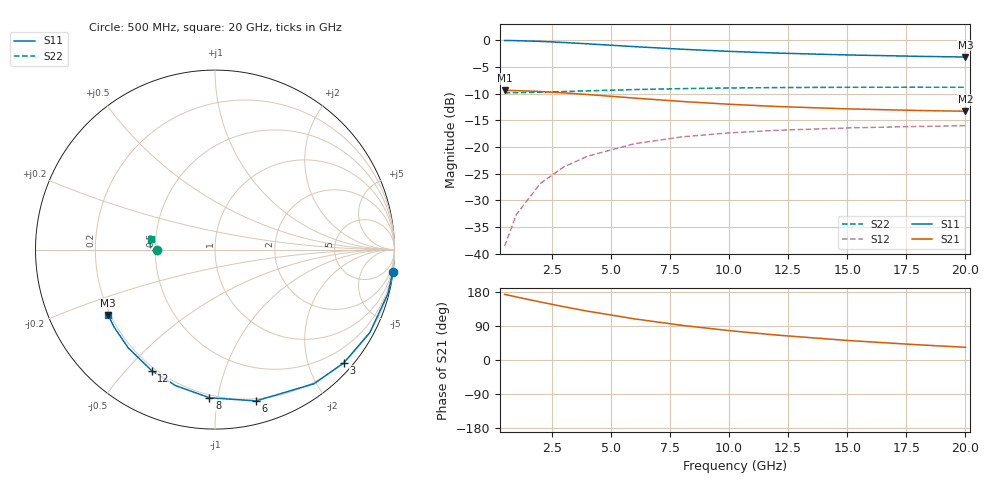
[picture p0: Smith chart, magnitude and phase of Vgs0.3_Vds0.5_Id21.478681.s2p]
# Hz S RI R 50
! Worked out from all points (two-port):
!   12 points, 500 MHz to 20 GHz, reference 50 ohm
!   highest |S21| = -9.38 dB at 500 MHz (marker M1); lowest = -13.3 dB at 20 GHz (marker M2)
!   |S21| within 3 dB of the highest: start of sweep to 11.91 GHz
!   lowest |S11| = -3.1 dB at 20 GHz (marker M3), VSWR 5.62, Z = 9.58 - j13.6 ohm
!   |S11| at or under -10 dB: nowhere
!   |S22| runs from -9.8 to -8.8 dB; largest |S21 - S12| = 0.34
!   S11 on the Smith chart (normalised r, x): 500 MHz: 0, -16; 3 GHz: 0.18, -2.64; 6 GHz: 0.18, -1.29; 8 GHz: 0.18, -0.95; 12 GHz: 0.18, -0.59; 20 GHz: 0.19, -0.27
5e8  0.9908 -0.1248  -0.3372 0.0403  0.000917 0.0117  -0.3224 -0.00228
1e9  0.9636 -0.2458  -0.3285 0.0794  0.00361 0.023  -0.3232 -0.00443
2e9  0.8625 -0.4627  -0.2959 0.1494  0.0136 0.0431  -0.3264 -0.00794
3e9  0.7174 -0.6316  -0.249 0.204  0.028 0.0585  -0.3308 -0.0099
4e9  0.5515 -0.7474  -0.1955 0.2415  0.0445 0.0686  -0.3359 -0.0102
6e9  0.2286 -0.8431  -0.0911 0.2727  0.0765 0.0754  -0.3455 -0.00634
8e9  -0.0309 -0.8255  -0.00706 0.2673  0.1022 0.0708  -0.3528 0.00109
1e10  -0.2199 -0.7577  0.0544 0.2457  0.121 0.0613  -0.3576 0.0102
1.2e10  -0.3535 -0.6736  0.0981 0.2189  0.1342 0.0502  -0.3603 0.02
1.5e10  -0.4839 -0.547  0.1415 0.1785  0.1471 0.0334  -0.3614 0.0346
1.8e10  -0.5619 -0.4323  0.1682 0.1418  0.1548 0.0177  -0.3602 0.049
2e10  -0.5956 -0.3637  0.1803 0.1198  0.1581 0.00788  -0.3583 0.0584
